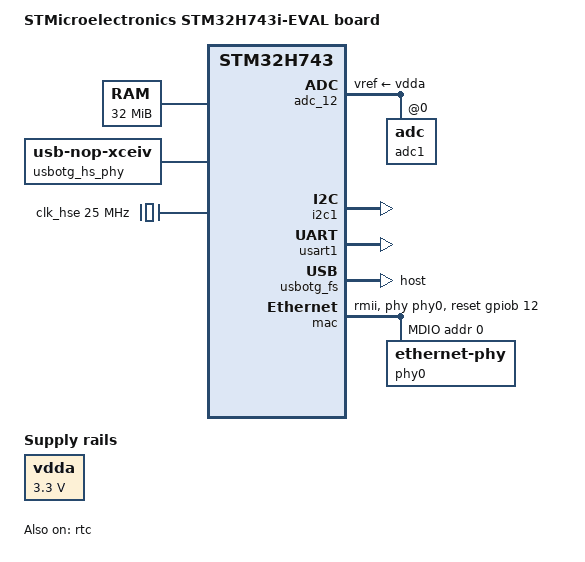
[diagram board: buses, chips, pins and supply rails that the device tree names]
/*
 * Copyright 2017 - Alexandre Torgue <alexandre.torgue@st.com>
 *
 * This file is dual-licensed: you can use it either under the terms
 * of the GPL or the X11 license, at your option. Note that this dual
 * licensing only applies to this file, and not this project as a
 * whole.
 *
 *  a) This file is free software; you can redistribute it and/or
 *     modify it under the terms of the GNU General Public License as
 *     published by the Free Software Foundation; either version 2 of the
 *     License, or (at your option) any later version.
 *
 *     This file is distributed in the hope that it will be useful,
 *     but WITHOUT ANY WARRANTY; without even the implied warranty of
 *     MERCHANTABILITY or FITNESS FOR A PARTICULAR PURPOSE.  See the
 *     GNU General Public License for more details.
 *
 * Or, alternatively,
 *
 *  b) Permission is hereby granted, free of charge, to any person
 *     obtaining a copy of this software and associated documentation
 *     files (the "Software"), to deal in the Software without
 *     restriction, including without limitation the rights to use,
 *     copy, modify, merge, publish, distribute, sublicense, and/or
 *     sell copies of the Software, and to permit persons to whom the
 *     Software is furnished to do so, subject to the following
 *     conditions:
 *
 *     The above copyright notice and this permission notice shall be
 *     included in all copies or substantial portions of the Software.
 *
 *     THE SOFTWARE IS PROVIDED "AS IS", WITHOUT WARRANTY OF ANY KIND,
 *     EXPRESS OR IMPLIED, INCLUDING BUT NOT LIMITED TO THE WARRANTIES
 *     OF MERCHANTABILITY, FITNESS FOR A PARTICULAR PURPOSE AND
 *     NONINFRINGEMENT. IN NO EVENT SHALL THE AUTHORS OR COPYRIGHT
 *     HOLDERS BE LIABLE FOR ANY CLAIM, DAMAGES OR OTHER LIABILITY,
 *     WHETHER IN AN ACTION OF CONTRACT, TORT OR OTHERWISE, ARISING
 *     FROM, OUT OF OR IN CONNECTION WITH THE SOFTWARE OR THE USE OR
 *     OTHER DEALINGS IN THE SOFTWARE.
 *		snps,reset-active-low;
 */

/dts-v1/;
#include "stm32h743.dtsi"
#include "stm32h743-pinctrl.dtsi"

/ {
	model = "STMicroelectronics STM32H743i-EVAL board";
	compatible = "st,stm32h743i-eval", "st,stm32h743";

	chosen {
		bootargs = "root=/dev/ram";
		stdout-path = "serial0:115200n8";
	};

	memory {
		reg = <0x60000000 0x2000000>;
	};

	reserved-memory {
		#address-cells = <1>;
		#size-cells = <1>;
		ranges;

		linux,dma {
			compatible = "shared-dma-pool";
			no-map;
			reg = <0x61e00000 0x200000>;
			alignment = <0x2000>;
			linux,dma-default;
		};

	};

	aliases {
		serial0 = &usart1;
		eth0 = &mac;
	};

	vdda: regulator-vdda {
		compatible = "regulator-fixed";
		regulator-name = "vdda";
		regulator-min-microvolt = <3300000>;
		regulator-max-microvolt = <3300000>;
		regulator-always-on;
	};

	usbotg_hs_phy: usb-phy {
		#phy-cells = <0>;
		compatible = "usb-nop-xceiv";
		clocks = <&rcc USB1ULPI_CK>;
		clock-names = "main_clk";
	};

};

&adc_12 {
	vref-supply = <&vdda>;
	status = "okay";
	adc1: adc@0 {
		/* potentiometer */
		st,adc-channels = <0>;
		status = "okay";
	};
};

&clk_hse {
	clock-frequency = <25000000>;
};

&i2c1 {
	pinctrl-0 = <&i2c1_pins_a>;
	pinctrl-names = "default";
	i2c-scl-rising-time-ns = <185>;
	i2c-scl-falling-time-ns = <20>;
	status = "okay";
};

&rtc {
	status = "okay";
};

&usart1 {
	pinctrl-0 = <&usart1_pins>;
	pinctrl-names = "default";
	status = "okay";
};

&usbotg_fs {
	dr_mode = "host";
	pinctrl-0 = <&usbotg_fs_pins_a>;
	pinctrl-names = "default";
	status = "okay";
};

&mac {
	status = "okay";
	pinctrl-0 = <&ethernet_rmii>;
	phy-mode = "rmii";
	phy-handle = <&phy0>;
	max-speed = <100>;
	clock_in_out = "input";
	snps,reset-gpio = <&gpiob 12 0>;
	rx-fifo-depth = <2048>;
	tx-fifo-depth = <2048>;
	snps,no-pbl-x8;
	snps,txpbl = <32>;
	snps,rxpbl = <32>;
	snps,fixed-burst;
	snps,aal;
	snps,reset-delays-us = <0 10000 1000000>;
	mdio0 {
		#address-cells = <1>;
		#size-cells = <0>;
		compatible = "snps,dwmac-mdio";
		phy0: ethernet-phy@0 {
                        reg = <0>;
		};
	};
};
